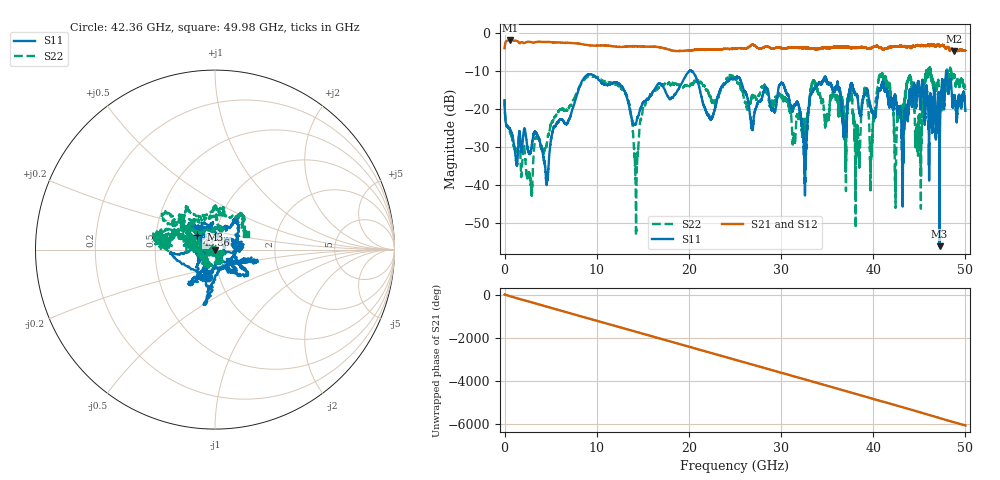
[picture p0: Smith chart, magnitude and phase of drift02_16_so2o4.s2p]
!Created with skrf (http://scikit-rf.org).
# Hz S RI R 50.0
!freq ReS11 ImS11 ReS21 ImS21 ReS12 ImS12 ReS22 ImS22
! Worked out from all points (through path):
!   10001 points, 300 kHz to 50 GHz, reference 50 ohm
!   highest |S21| = -1.99 dB at 585.3 MHz (marker M1); lowest = -4.9 dB at 48.77 GHz (marker M2)
!   group delay of S21, straight-line fit = 337 ps
!   lowest |S11| = -56.1 dB at 47.2 GHz (marker M3), VSWR 1.00, Z = 49.9 - j0.116 ohm
!   |S11| at or under -10 dB: start of sweep to 20.06 GHz; 20.0674 GHz to 20.07052 GHz (3.12 MHz wide, 0.0155 % of centre); 20.24 GHz to end of sweep (the widest 3 of 6)
!   |S22| runs from -53.3 to -9.0 dB; largest |S21 - S12| = 0.031
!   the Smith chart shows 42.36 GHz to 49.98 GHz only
!   S11 on the Smith chart (normalised r, x): 42.36 GHz: 0.88, -0.28; 43.86 GHz: 0.81, +0.13; 49.98 GHz: 1.16, -0.15
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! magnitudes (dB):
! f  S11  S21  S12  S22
! 300 kHz  -17.8  -4.0  -4.0  -17.5
! 585.3 MHz  -25.2  -2.0  -2.0  -26.0
! 2.785 GHz  -31.4  -2.4  -2.4  -38.6
! 4.565 GHz  -39.7  -2.4  -2.4  -29.3
! 8.335 GHz  -13.0  -2.9  -2.9  -13.3
! 13.02 GHz  -15.3  -3.7  -3.6  -15.7
! 14.28 GHz  -23.7  -3.5  -3.5  -48.7
! 16.67 GHz  -13.4  -3.7  -3.7  -14.5
! 25 GHz  -12.1  -4.1  -4.1  -12.1
! 30.18 GHz  -13.4  -4.1  -4.1  -16.7
! 32.56 GHz  -39.4  -4.0  -3.9  -24.3
! 33.34 GHz  -15.8  -4.0  -4.1  -13.6
! 38.28 GHz  -16.9  -4.0  -4.0  -24.4
! 41.67 GHz  -18.5  -3.8  -3.9  -13.0
! 42.36 GHz  -16.1  -3.6  -3.6  -38.2
! 43.86 GHz  -17.7  -3.6  -3.6  -11.8
! 44.99 GHz  -14.4  -3.4  -3.3  -21.5
! 45.9 GHz  -17.3  -3.2  -3.2  -11.0
! 47.2 GHz  -56.1  -3.5  -3.5  -17.1
! 48.77 GHz  -17.2  -4.9  -4.8  -10.9
! 49.98 GHz  -19.9  -4.6  -4.6  -14.3
! 50 GHz  -20.5  -4.6  -4.6  -15.0
